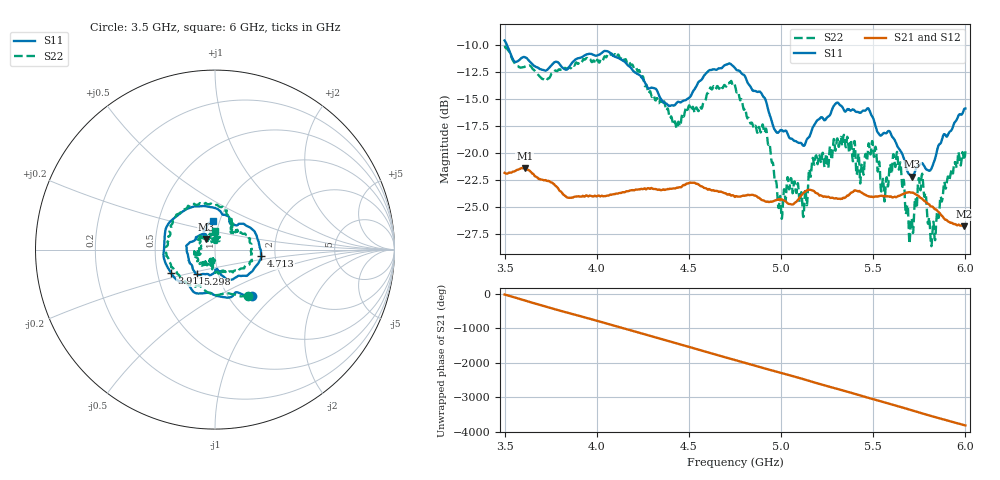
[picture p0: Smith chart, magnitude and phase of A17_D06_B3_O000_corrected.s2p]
! Created with skrf 1.9.0 (http://scikit-rf.org).
# Hz S RI R 50.0
!freq ReS11 ImS11 ReS21 ImS21 ReS12 ImS12 ReS22 ImS22
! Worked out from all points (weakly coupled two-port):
!   1601 points, 3.5 GHz to 6 GHz, reference 50 ohm
!   highest |S21| = -21.39 dB at 3.609 GHz (marker M1); lowest = -26.8 dB at 5.994 GHz (marker M2)
!   lowest |S11| = -22.2 dB at 5.713 GHz (marker M3), VSWR 1.17, Z = 44.9 + j5.37 ohm
!   |S11| at or under -10 dB: 3.514 GHz to end of sweep
!   |S22| runs from -28.7 to -10.0 dB; largest |S21 - S12| = 0.00093
!   S11 on the Smith chart (normalised r, x): 3.5 GHz: 1.28, -0.75; 3.911 GHz: 0.59, -0.17; 4.713 GHz: 1.69, -0.13; 5.298 GHz: 0.79, -0.22; 6 GHz: 0.93, +0.31
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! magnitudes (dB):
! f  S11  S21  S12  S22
! 3.5 GHz  -9.5  -21.9  -21.8  -10.0
! 3.609 GHz  -11.1  -21.4  -21.4  -12.0
! 3.911 GHz  -11.2  -24.1  -24.0  -11.5
! 3.917 GHz  -11.1  -24.1  -24.0  -11.6
! 4.127 GHz  -11.3  -23.7  -23.7  -11.2
! 4.334 GHz  -14.5  -23.4  -23.3  -15.3
! 4.442 GHz  -15.2  -23.2  -23.2  -17.1
! 4.713 GHz  -11.7  -23.9  -23.8  -13.5
! 4.75 GHz  -12.1  -24.1  -24.0  -13.7
! 4.911 GHz  -14.9  -24.5  -24.4  -18.1
! 4.995 GHz  -17.9  -24.3  -24.3  -24.0
! 5.045 GHz  -18.6  -24.7  -24.7  -23.4
! 5.13 GHz  -19.2  -23.6  -23.6  -23.7
! 5.167 GHz  -17.8  -23.5  -23.4  -21.0
! 5.298 GHz  -15.4  -24.2  -24.1  -19.4
! 5.584 GHz  -18.0  -24.0  -24.0  -22.2
! 5.638 GHz  -19.5  -24.0  -23.9  -21.4
! 5.713 GHz  -22.2  -23.7  -23.6  -26.9
! 5.758 GHz  -21.0  -24.2  -24.1  -23.3
! 5.825 GHz  -21.1  -25.0  -25.0  -26.5
! 5.994 GHz  -15.9  -26.8  -26.7  -20.7
! 6 GHz  -15.9  -26.8  -26.7  -19.8
